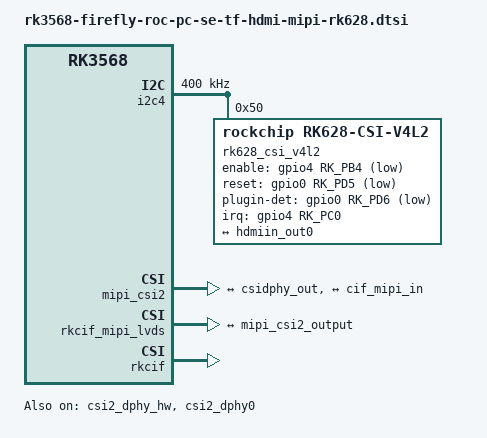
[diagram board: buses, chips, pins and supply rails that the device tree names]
// SPDX-License-Identifier: (GPL-2.0+ OR MIT)
/*
 * ROC-RK3568-PC-SE.
 *
 */

&vcc5v0_host {
	/delete-property/ gpio;
};

&rk809_codec {
	mic-in-line2-rk628d;
	micin-pga-gain = <119>;
};

&i2c4{
    status = "okay";
    clock-frequency = <400000>;
    pinctrl-0 = <&i2c4m0_xfer>;


	rk628_csi_v4l2: rk628_csi_v4l2@50 {
                reg = <0x50>;
                compatible = "rockchip,rk628-csi-v4l2";
                interrupt-parent = <&gpio4>;
                interrupts = <RK_PC0 IRQ_TYPE_LEVEL_HIGH>;
                enable-gpios = <&gpio4 RK_PB4 GPIO_ACTIVE_LOW>;
                reset-gpios = <&gpio0 RK_PD5 GPIO_ACTIVE_LOW>;
                plugin-det-gpios = <&gpio0 RK_PD6 GPIO_ACTIVE_LOW>;
                //power-gpios = <&gpio0 17 GPIO_ACTIVE_HIGH>;

                rockchip,camera-module-index = <0>;
                rockchip,camera-module-facing = "back";
                rockchip,camera-module-name = "RK628-CSI";
                rockchip,camera-module-lens-name = "NC";

                port {
		        hdmi_in0: endpoint {
			        remote-endpoint = <&hdmiin_out0>;
			        data-lanes = <1 2 3 4>;
                        };
                };
        };

};

&csi2_dphy_hw {
	status = "okay";
};

&csi2_dphy0 {
	status = "okay";
	/*
	* dphy0 only used for full mode,
	* full mode and split mode are mutually exclusive
	*/
	ports {
		#address-cells = <1>;
		#size-cells = <0>;
			port@0 {
			reg = <0>;
			#address-cells = <1>;
			#size-cells = <0>;

			hdmiin_out0: endpoint@0 {
				reg = <0>;
				remote-endpoint = <&hdmi_in0>;
				data-lanes = <1 2 3 4>;
			};
		};
		port@1 {
			reg = <1>;
			#address-cells = <1>;
			#size-cells = <0>;

			csidphy_out: endpoint@0 {
				reg = <0>;
				remote-endpoint = <&mipi_csi2_input>;
				data-lanes = <1 2 3 4>;
			};
		};
	};
};

&mipi_csi2 {
        status = "okay";

        ports {
                #address-cells = <1>;
                #size-cells = <0>;

                port@0 {
                        reg = <0>;
                        #address-cells = <1>;
                        #size-cells = <0>;

                        mipi_csi2_input: endpoint@1 {
							reg = <1>;
                            remote-endpoint = <&csidphy_out>;
							data-lanes = <1 2 3 4>;
                        };
                };

                port@1 {
                        reg = <1>;
                        #address-cells = <1>;
                        #size-cells = <0>;

                        mipi_csi2_output: endpoint@0 {
                            reg = <0>;
                            remote-endpoint = <&cif_mipi_in>;
                            data-lanes = <1 2 3 4>;
                        };
                };
        };
};

&rkcif_mipi_lvds {
        status = "okay";
        port {
                cif_mipi_in: endpoint {
                    remote-endpoint = <&mipi_csi2_output>;
                    data-lanes = <1 2 3 4>;
                };
        };
};


&rkcif_mmu {
    status = "okay";
};

&rkcif {
    status = "okay";
};

&rkisp {
        status = "disabled";
};
